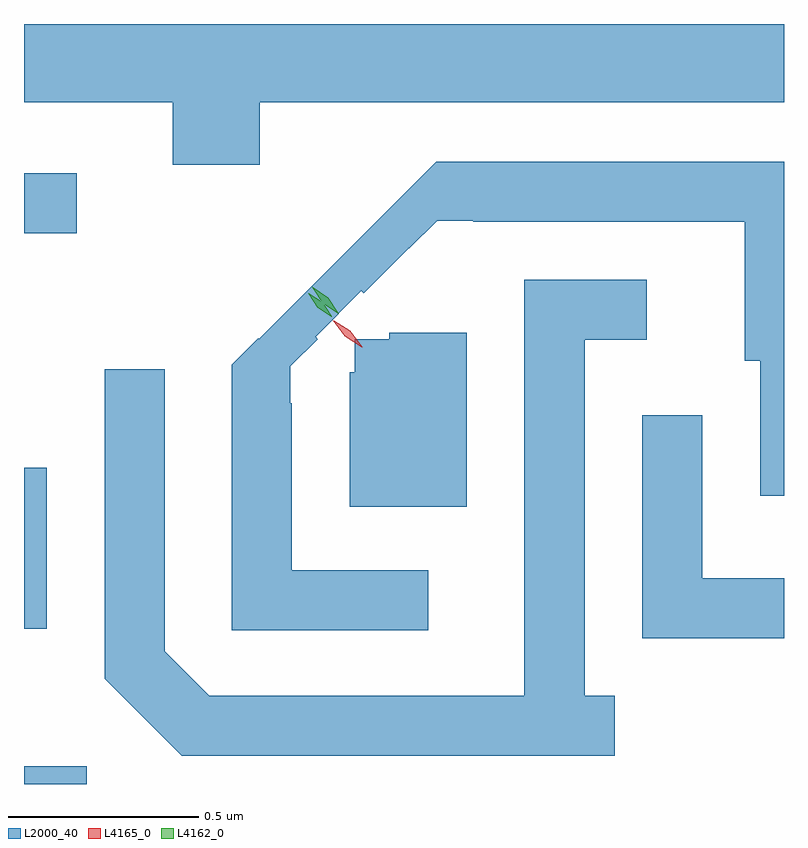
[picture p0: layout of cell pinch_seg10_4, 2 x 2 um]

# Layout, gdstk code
import gdstk
lib = gdstk.Library(unit=1e-6, precision=1e-09)
def R(c, l, rs):  # rectangles x0, y0, x1, y1
    for r in rs: c.add(gdstk.rectangle(r[:2], r[2:], *l))
def P(c, l, *ps):  # polygons
    for p in ps: c.add(gdstk.Polygon(p, *l))
L2000_40 = (2000, 40)
L4162_0 = (4162, 0)
L4165_0 = (4165, 0)

pinch_seg10_4 = lib.new_cell('pinch_seg10_4')
R(pinch_seg10_4, L2000_40, [(846.754,2189.822,846.919,2189.869), (846.754,2190.231,846.814,2190.654), (846.754,2191.271,846.893,2191.429)])
P(pinch_seg10_4, L2000_40, [(847.374,2191.616),(848.754,2191.616),(848.754,2191.822),(846.754,2191.822),(846.754,2191.616),(847.146,2191.616),(847.146,2191.451),(847.374,2191.451)],
  [(847.818,2190.384),(847.459,2190.384),(847.459,2190.824),(847.455,2190.824),(847.455,2190.921),(847.527,2190.993),(847.522,2190.999),(847.642,2191.12),(847.648,2191.113),(847.767,2191.232),(847.768,2191.232),(847.841,2191.304),(847.936,2191.304),(847.936,2191.301),(848.651,2191.301),(848.651,2190.936),(848.691,2190.936),(848.691,2190.581),(848.754,2190.581),(848.754,2191.459),(847.839,2191.459),(847.373,2190.994),(847.371,2190.995),(847.301,2190.925),(847.301,2190.226),(847.818,2190.226)],
  [(848.308,2190.054),(848.229,2190.054),(848.229,2190.991),(848.393,2190.991),(848.393,2191.149),(848.071,2191.149),(848.071,2190.054),(847.242,2190.054),(847.124,2190.172),(847.124,2190.913),(846.966,2190.913),(846.966,2190.099),(847.169,2189.896),(848.308,2189.896)],
  [(847.919,2191.009),(847.715,2191.009),(847.715,2190.993),(847.625,2190.993),(847.625,2190.905),(847.611,2190.905),(847.611,2190.551),(847.919,2190.551)],
  [(848.754,2190.364),(848.539,2190.364),(848.539,2190.793),(848.381,2190.793),(848.381,2190.206),(848.754,2190.206)])
P(pinch_seg10_4, L4162_0, [(847.581,2191.059),(847.54,2191.087),(847.512,2191.129),(847.512,2191.13),(847.512,2191.13),(847.554,2191.102),(847.582,2191.059),(847.582,2191.059)],
  [(847.563,2191.052),(847.526,2191.076),(847.502,2191.114),(847.502,2191.114),(847.503,2191.114),(847.54,2191.09),(847.564,2191.053),(847.564,2191.052)])
P(pinch_seg10_4, L4165_0, [(847.643,2190.972),(847.598,2191),(847.566,2191.042),(847.566,2191.042),(847.567,2191.042),(847.612,2191.015),(847.644,2190.973),(847.644,2190.972)],
  [(847.641,2190.974),(847.599,2191),(847.57,2191.04),(847.57,2191.041),(847.571,2191.041),(847.613,2191.015),(847.642,2190.975),(847.642,2190.974)])

lib.write_gds('pinch_seg10_4.gds')
